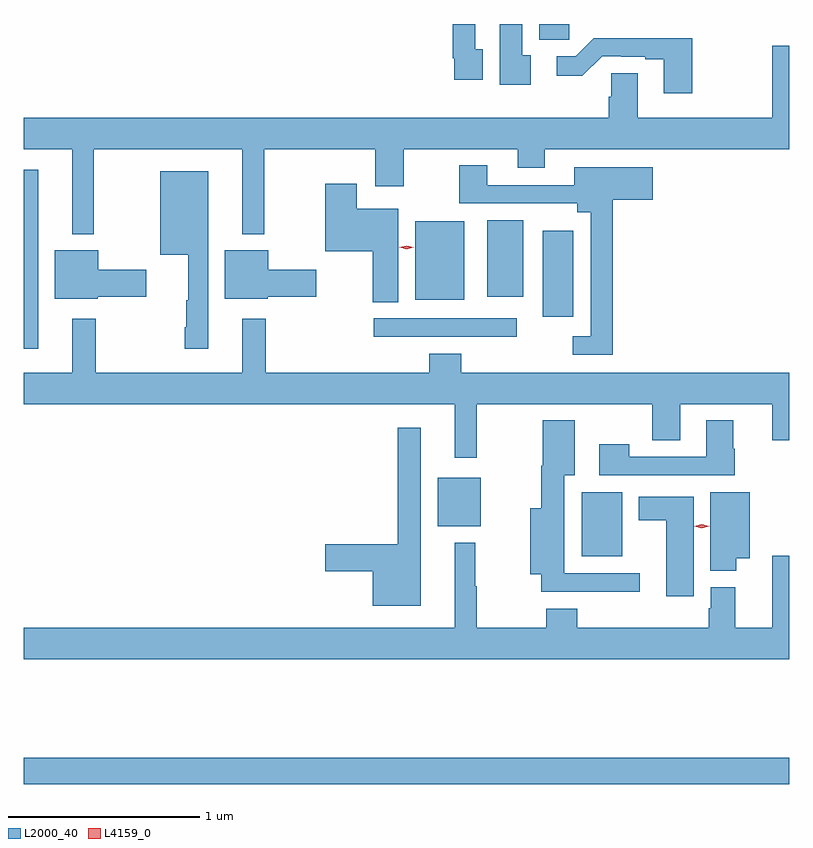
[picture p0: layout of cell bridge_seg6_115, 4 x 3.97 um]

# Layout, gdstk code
import gdstk
lib = gdstk.Library(unit=1e-6, precision=1e-09)
def R(c, l, rs):  # rectangles x0, y0, x1, y1
    for r in rs: c.add(gdstk.rectangle(r[:2], r[2:], *l))
def P(c, l, *ps):  # polygons
    for p in ps: c.add(gdstk.Polygon(p, *l))
L2000_40 = (2000, 40)
L4159_0 = (4159, 0)

bridge_seg6_115 = lib.new_cell('bridge_seg6_115')
R(bridge_seg6_115, L2000_40, [(376.881,937.36,380.881,937.496), (379.796,938.549,380.008,938.884), (379.043,938.705,379.27,938.959), (376.881,939.633,376.957,940.567), (378.711,939.696,379.456,939.792), (379.592,939.801,379.753,940.249), (378.926,939.89,379.183,940.3), (379.304,939.905,379.492,940.303), (379.574,941.247,379.73,941.329)])
P(bridge_seg6_115, L2000_40, [(379.531,941.166),(379.486,941.166),(379.486,941.329),(379.367,941.329),(379.367,941.012),(379.531,941.012)],
  [(379.279,941.198),(379.239,941.198),(379.239,941.329),(379.123,941.329),(379.123,941.149),(379.131,941.149),(379.131,941.037),(379.279,941.037)],
  [(380.373,941.255),(379.859,941.255),(379.764,941.16),(379.665,941.16),(379.665,941.058),(379.8,941.058),(379.902,941.16),(380.002,941.16),(380.002,941.157),(380.129,941.157),(380.129,941.145),(380.225,941.145),(380.225,940.968),(380.373,940.968)],
  [(377.249,940.676),(378.023,940.676),(378.023,940.232),(378.137,940.232),(378.137,940.676),(378.719,940.676),(378.719,940.482),(378.867,940.482),(378.867,940.676),(379.463,940.676),(379.463,940.577),(379.603,940.577),(379.603,940.676),(380.881,940.676),(380.881,941.215),(380.792,941.215),(380.792,940.84),(380.089,940.84),(380.089,941.072),(379.95,941.072),(379.95,940.95),(379.937,940.95),(379.937,940.84),(376.881,940.84),(376.881,940.676),(377.135,940.676),(377.135,940.232),(377.249,940.232)],
  [(379.958,940.412),(380.167,940.412),(380.167,940.582),(379.757,940.582),(379.757,940.488),(379.303,940.488),(379.303,940.591),(379.156,940.591),(379.156,940.392),(379.772,940.392),(379.772,940.346),(379.842,940.346),(379.842,939.699),(379.749,939.699),(379.749,939.603),(379.958,939.603)],
  [(377.845,940.561),(377.594,940.561),(377.594,940.124),(377.741,940.124),(377.741,939.887),(377.731,939.887),(377.731,939.745),(377.724,939.745),(377.724,939.633),(377.845,939.633)],
  [(378.838,940.363),(378.622,940.363),(378.622,940.495),(378.457,940.495),(378.457,940.142),(378.704,940.142),(378.704,939.877),(378.838,939.877)],
  [(378.156,939.904),(378.409,939.904),(378.409,940.046),(378.16,940.046),(378.16,940.147),(377.933,940.147),(377.933,939.893),(378.156,939.893)],
  [(377.268,939.904),(377.521,939.904),(377.521,940.046),(377.272,940.046),(377.272,940.147),(377.045,940.147),(377.045,939.893),(377.268,939.893)],
  [(379.247,939.344),(380.164,939.344),(380.164,939.154),(380.311,939.154),(380.311,939.344),(380.792,939.344),(380.792,939.156),(380.881,939.156),(380.881,939.508),(379.166,939.508),(379.166,939.607),(379.001,939.607),(379.001,939.508),(378.145,939.508),(378.145,939.79),(378.023,939.79),(378.023,939.508),(377.257,939.508),(377.257,939.79),(377.135,939.79),(377.135,939.508),(376.881,939.508),(376.881,939.344),(379.133,939.344),(379.133,939.063),(379.247,939.063)],
  [(380.098,938.46),(379.705,938.46),(379.705,938.972),(379.759,938.972),(379.759,939.259),(379.592,939.259),(379.592,939.021),(379.585,939.021),(379.585,938.8),(379.526,938.8),(379.526,938.456),(379.585,938.456),(379.585,938.363),(380.098,938.363)],
  [(380.595,939.111),(380.587,939.111),(380.587,939.259),(380.447,939.259),(380.447,939.069),(380.043,939.069),(380.043,939.133),(379.887,939.133),(379.887,938.973),(380.595,938.973)],
  [(378.955,939.22),(378.834,939.22),(378.834,938.612),(378.456,938.612),(378.456,938.47),(378.704,938.47),(378.704,938.291),(378.955,938.291)],
  [(380.602,938.54),(380.674,938.54),(380.674,938.884),(380.468,938.884),(380.468,938.473),(380.602,938.473)],
  [(380.38,938.86),(380.093,938.86),(380.093,938.738),(380.237,938.738),(380.237,938.34),(380.38,938.34)],
  [(379.612,938.275),(379.612,938.176),(379.247,938.176),(379.247,938.393),(379.24,938.393),(379.24,938.62),(379.133,938.62),(379.133,938.176),(376.881,938.176),(376.881,938.012),(380.881,938.012),(380.881,938.551),(380.792,938.551),(380.792,938.176),(380.599,938.176),(380.599,938.388),(380.471,938.388),(380.471,938.277),(380.459,938.277),(380.459,938.176),(379.772,938.176),(379.772,938.275)])
P(bridge_seg6_115, L4159_0, [(380.423,938.696),(380.383,938.706),(380.383,938.707),(380.383,938.707),(380.423,938.716),(380.462,938.706),(380.462,938.706),(380.462,938.706)],
  [(378.881,940.152),(378.843,940.162),(378.843,940.163),(378.843,940.163),(378.881,940.172),(378.919,940.162),(378.919,940.162),(378.919,940.162)])

lib.write_gds('bridge_seg6_115.gds')
